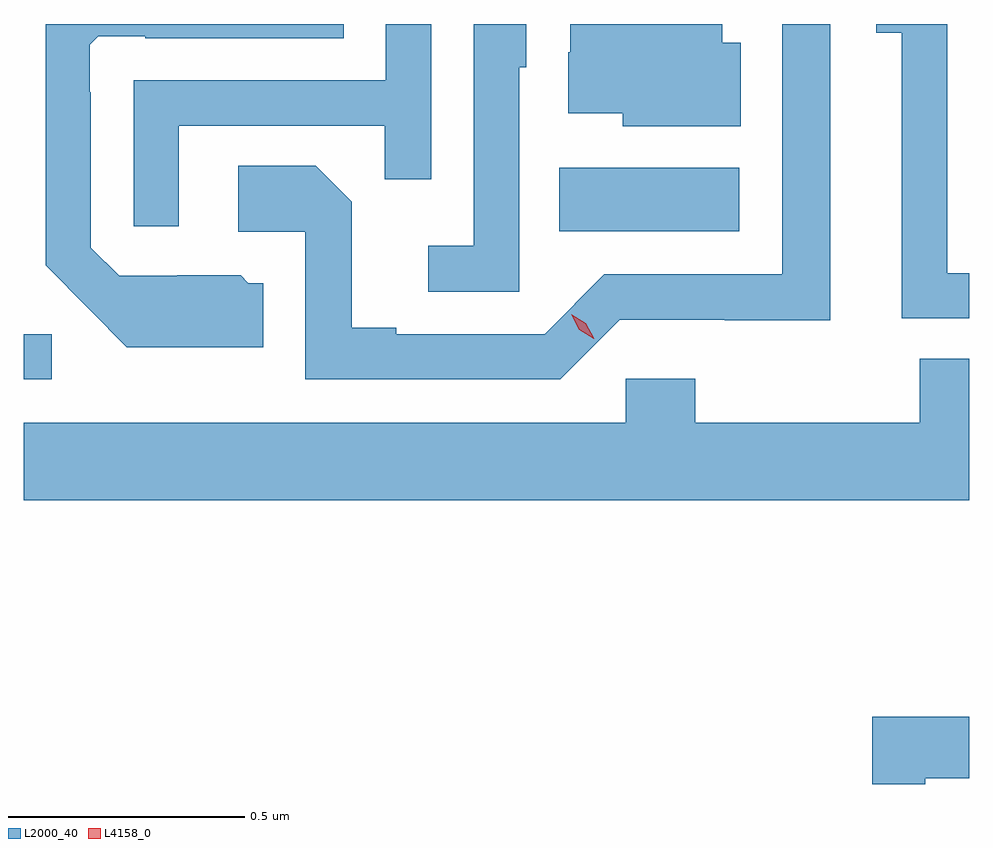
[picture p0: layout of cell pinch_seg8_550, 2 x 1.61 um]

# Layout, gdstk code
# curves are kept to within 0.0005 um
import gdstk
lib = gdstk.Library(unit=1e-6, precision=1e-09)
def R(c, l, rs):  # rectangles x0, y0, x1, y1
    for r in rs: c.add(gdstk.rectangle(r[:2], r[2:], *l))
def P(c, l, *ps):  # polygons
    for p in ps: c.add(gdstk.Polygon(p, *l))
L2000_40 = (2000, 40)
L4158_0 = (4158, 0)

pinch_seg8_550 = lib.new_cell('pinch_seg8_550')
R(pinch_seg8_550, L2000_40, [(147.779,1120.752,147.838,1120.848), (148.912,1121.066,149.293,1121.2)])
P(pinch_seg8_550, L2000_40, [(149.779,1120.977),(149.733,1120.977),(149.733,1121.504),(149.582,1121.504),(149.582,1121.486),(149.636,1121.486),(149.636,1120.881),(149.779,1120.881)],
  [(148.827,1121.412),(148.842,1121.412),(148.842,1121.504),(148.731,1121.504),(148.731,1121.035),(148.635,1121.035),(148.635,1120.938),(148.827,1120.938)],
  [(148.107,1121.289),(148.543,1121.289),(148.543,1121.176),(148.641,1121.176),(148.641,1121.504),(148.545,1121.504),(148.545,1121.385),(148.011,1121.385),(148.011,1121.076),(148.107,1121.076)],
  [(149.296,1121.464),(149.257,1121.464),(149.257,1121.504),(148.935,1121.504),(148.935,1121.444),(148.931,1121.444),(148.931,1121.315),(149.046,1121.315),(149.046,1121.288),(149.296,1121.288)],
  [(148.285,1120.956),(148.254,1120.956),(148.238,1120.972),(148.104,1120.972),(148.104,1120.971),(147.981,1120.971),(147.921,1121.031),(147.921,1121.36),(147.918,1121.36),(147.918,1121.46),(147.936,1121.478),(148.036,1121.478),(148.036,1121.474),(148.456,1121.474),(148.456,1121.504),(147.825,1121.504),(147.825,1120.994),(147.997,1120.82),(148.285,1120.82)],
  [(149.04,1120.878),(149.262,1120.878),(149.262,1120.877),(149.485,1120.877),(149.485,1121.504),(149.384,1121.504),(149.384,1120.974),(149.007,1120.974),(148.881,1120.848),(148.567,1120.848),(148.567,1120.861),(148.473,1120.861),(148.473,1121.128),(148.397,1121.204),(148.233,1121.204),(148.233,1121.064),(148.374,1121.064),(148.374,1120.752),(148.914,1120.752)],
  [(149.779,1120.796),(149.674,1120.796),(149.674,1120.66),(149.199,1120.66),(149.199,1120.753),(149.052,1120.753),(149.052,1120.66),(147.779,1120.66),(147.779,1120.496),(149.779,1120.496)],
  [(149.686,1119.908),(149.779,1119.908),(149.779,1120.038),(149.574,1120.038),(149.574,1119.896),(149.686,1119.896)])
P(pinch_seg8_550, L4158_0, [(148.985,1120.838),(148.954,1120.857),(148.937,1120.89),(148.937,1120.89),(148.937,1120.89),(148.968,1120.871),(148.986,1120.838),(148.986,1120.838)])

lib.write_gds('pinch_seg8_550.gds')
